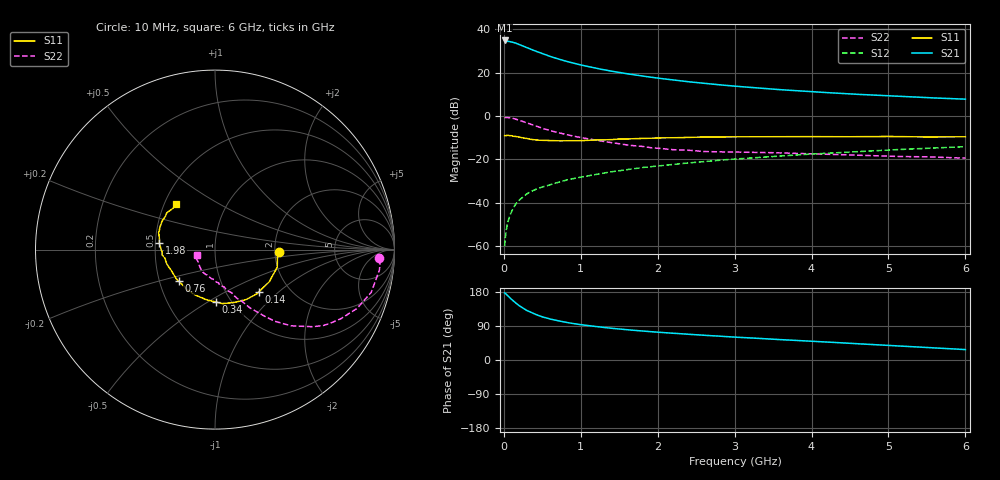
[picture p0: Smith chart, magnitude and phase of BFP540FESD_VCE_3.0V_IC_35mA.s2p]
! (c) 2015  Infineon Technologies AG, Munich
! Infineon Technologies  Discrete & RF Semiconductors
! BFP540FESD
! VCE =  3.0 V,  IC =  35 mA
! Common Emitter S-Parameters:  Nov 2015
# GHz  S  MA  R  50
!  f  S11  S21  S12  S22
! GHz  MAG  ANG  MAG  ANG  MAG  ANG  MAG  ANG
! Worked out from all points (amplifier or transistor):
!   210 points, 10 MHz to 6 GHz, reference 50 ohm
!   highest |S21| = 34.8 dB at 10 MHz (marker M1)
!   |S21| within 3 dB of that: start of sweep to 280.7 MHz
!   unconditionally stable (mu >= 1): start of sweep to 13.95 MHz; 1.482 GHz to end of sweep
!   at 185 MHz: K = 0.40, MSG = 36.3 dB, |S12| = -39.3 dB
!   at 1.52 GHz: K = 1.01, MAG = 22.1 dB, |S12| = -25.1 dB
!   at 6 GHz: K = 1.16, MAG = 8.5 dB, |S12| = -14.2 dB
!   S11 on the Smith chart (normalised r, x): 10 MHz: 2.10, -0.06; 140 MHz: 1.42, -0.75; 340 MHz: 0.85, -0.55; 760 MHz: 0.63, -0.24; 1.98 GHz: 0.53, +0.04; 6 GHz: 0.58, +0.33
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0.01  0.3543 -1.9  55.14 177.0  0.001 108.9  0.9127 -2.8
0.02  0.3513 -7.8  52.95 175.7  0.0016 92.8  0.9227 -1.7
0.05  0.3602 -15.7  53.11 169.8  0.0035 78.4  0.9234 -7.0
0.1  0.3515 -30.6  50.93 160.0  0.0062 84.7  0.9025 -15.3
0.14  0.3394 -43.6  48.67 153.0  0.0085 78.2  0.8647 -21.0
0.2  0.3275 -58.5  44.58 143.2  0.0115 75.9  0.8005 -28.7
0.24  0.315 -67.9  41.76 138.0  0.0131 73.8  0.7581 -33.0
0.3  0.3036 -82.1  37.83 130.5  0.0161 70.9  0.6933 -38.3
0.34  0.2925 -88.7  35.37 127.1  0.0177 70.3  0.6546 -40.8
0.4  0.2838 -99.3  31.95 121.1  0.02 69.6  0.5992 -45.1
0.5  0.276 -114.0  27.39 113.8  0.0232 69.2  0.5208 -50.1
0.6  0.2719 -124.7  23.63 108.2  0.0259 68.6  0.462 -53.4
0.76  0.2677 -139.4  19.41 101.3  0.0315 67.8  0.3928 -57.9
1.02  0.2709 -155.7  14.76 92.7  0.0396 67.9  0.3145 -63.4
1.2  0.2813 -164.8  12.57 88.1  0.0452 66.9  0.2764 -67.6
1.5  0.2962 -174.1  10.07 81.8  0.055 66.1  0.2299 -74.4
1.98  0.3119 173.0  7.555 73.7  0.0698 63.6  0.1822 -86.8
2.02  0.3132 172.1  7.399 73.1  0.071 63.4  0.18 -88.0
3.1  0.3317 157.1  4.722 59.4  0.1046 57.3  0.1466 -112.2
4.1  0.3338 149.5  3.547 48.4  0.1358 51.0  0.1327 -127.1
5.1  0.3356 141.3  2.864 37.4  0.1676 43.0  0.1173 -141.7
6  0.332 130.4  2.445 27.5  0.1961 35.6  0.1069 -162.2
